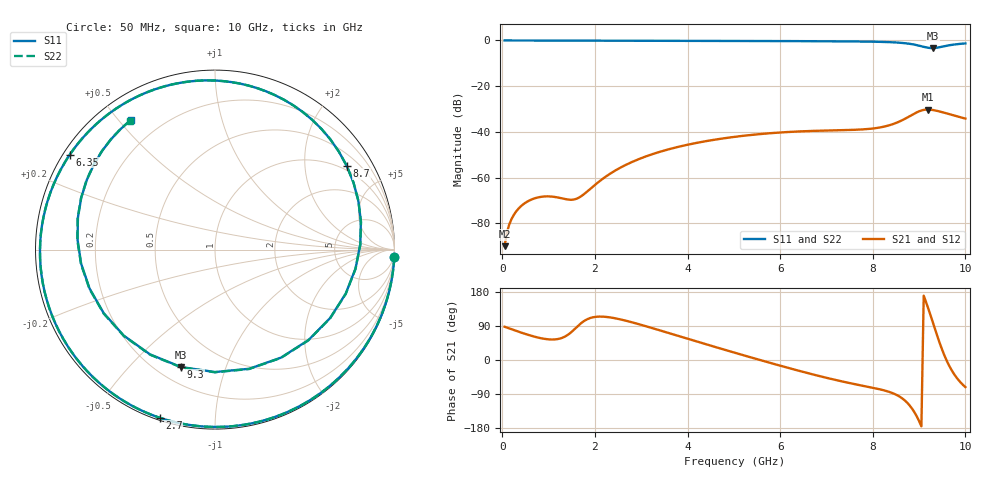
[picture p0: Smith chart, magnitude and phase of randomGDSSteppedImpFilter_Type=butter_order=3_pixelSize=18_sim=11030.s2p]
! freq	dB(S11)	phase(S11)	dB(S12)	phase(S12)
!  dB(S21)	phase(S21)	dB(S22)	phase(S22)
!S-par simulation data
#  GHz  S  DB  R 50
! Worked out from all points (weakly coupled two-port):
!   200 points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, 50 MHz to 10 GHz, reference 50 ohm
!   highest |S21| = -30.23 dB at 9.2 GHz (marker M1); lowest = -90.0 dB at 50 MHz (marker M2)
!   lowest |S11| = -3.3 dB at 9.3 GHz (marker M3), VSWR 5.27, Z = 14.5 - j35.5 ohm
!   |S11| at or under -10 dB: nowhere
!   |S22| runs from -3.3 to 0.0 dB; largest |S21 - S12| = 0
!   S11 on the Smith chart (normalised r, x): 50 MHz: 0, -50; 2.7 GHz: 0.01, -0.72; 6.35 GHz: 0.02, +0.30; 8.7 GHz: 0.85, +3.23; 9.3 GHz: 0.29, -0.71; 10 GHz: 0.10, +0.54
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0.05  -0.00 -2.3  -90.04 87.7  -90.04 87.7  -0.00 -2.3
0.15  -0.01 -6.8  -80.58 83.4  -80.58 83.4  -0.01 -6.8
0.35  -0.02 -15.8  -73.62 74.7  -73.62 74.7  -0.02 -15.8
0.65  -0.04 -29.0  -69.46 63.1  -69.46 63.1  -0.04 -29.0
1.5  -0.08 -64.7  -69.72 74.6  -69.72 74.6  -0.08 -64.7
1.75  -0.09 -74.4  -67.50 101.6  -67.50 101.6  -0.09 -74.4
2.7  -0.12 -108.3  -54.14 102.7  -54.14 102.7  -0.12 -108.3
3.4  -0.14 -130.4  -48.75 78.3  -48.75 78.3  -0.14 -130.4
5.05  -0.21 -177.0  -42.11 18.1  -42.11 18.1  -0.21 -177.0
6.35  -0.29 146.8  -39.88 -26.6  -39.88 -26.6  -0.29 146.8
6.7  -0.32 136.3  -39.60 -37.9  -39.60 -37.9  -0.32 136.3
7.7  -0.46 100.7  -39.03 -66.0  -39.03 -66.0  -0.46 100.7
8.35  -0.73 65.3  -37.17 -84.0  -37.17 -84.0  -0.73 65.2
8.7  -1.21 32.4  -34.24 -107.6  -34.24 -107.6  -1.22 32.2
8.95  -2.05 -7.7  -31.48 -148.8  -31.48 -148.8  -2.05 -7.9
9.05  -2.54 -30.7  -30.65 -175.0  -30.65 -175.0  -2.54 -30.9
9.2  -3.21 -74.0  -30.23 135.4  -30.23 135.4  -3.20 -74.1
9.3  -3.34 -106.2  -30.45 98.2  -30.45 98.2  -3.32 -106.1
9.45  -2.92 -150.4  -31.12 43.1  -31.12 43.1  -2.91 -150.1
9.55  -2.50 -174.1  -31.66 11.2  -31.66 11.2  -2.49 -173.7
9.75  -1.80 151.3  -32.83 -36.1  -32.83 -36.1  -1.80 151.7
10  -1.31 123.1  -34.19 -71.6  -34.19 -71.6  -1.31 123.6
